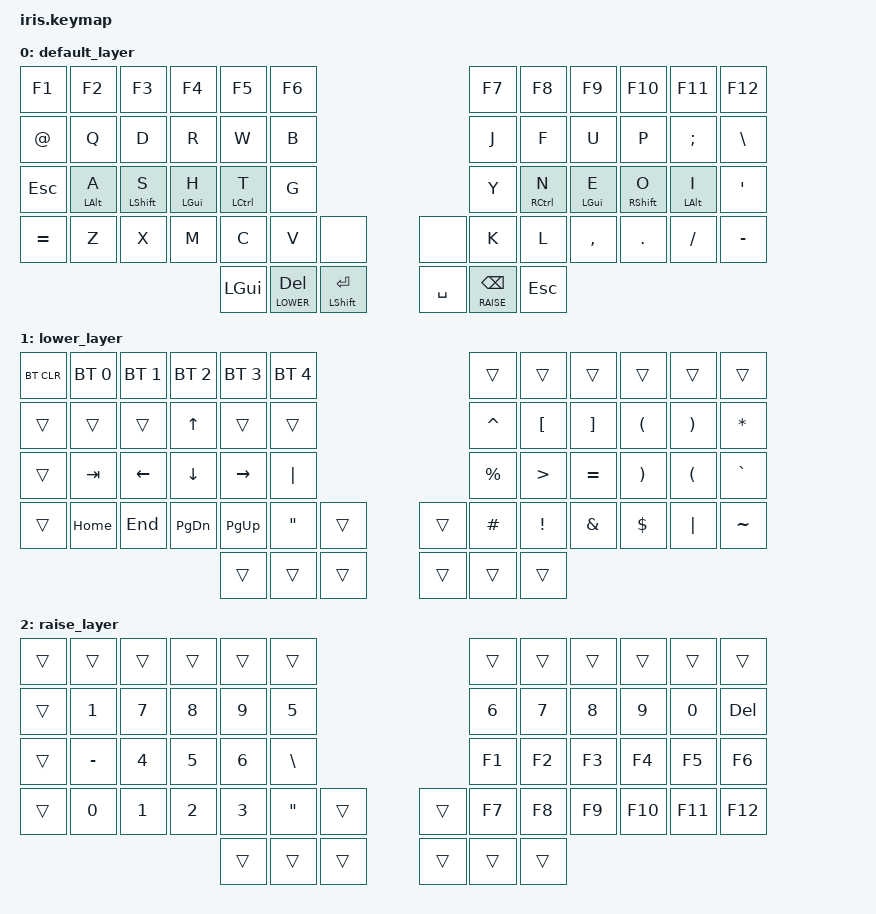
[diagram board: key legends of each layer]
/*
 * Copyright (c) 2020 The ZMK Contributors
 *
 * SPDX-License-Identifier: MIT
 */

#include <behaviors.dtsi>
#include <dt-bindings/zmk/keys.h>
#include <dt-bindings/zmk/bt.h>

#define DEFAULT 0
#define LOWER   1
#define RAISE   2

/ {

		behaviors {
        hm: homerow_mods {
            compatible = "zmk,behavior-hold-tap";
            label = "HOMEROW_MODS";
            #binding-cells = <2>;
            tapping-term-ms = <250>;
            quick-tap-ms = <0>;
            flavor = "tap-preferred";
            bindings = <&kp>, <&kp>;
        };
    };
	
	keymap {
		compatible = "zmk,keymap";

		default_layer {
// ------------------------------------------------------------------------------------------------------------
// |  ESC  |  1  |  2  |  3   |  4   |  5   |                   |  6   |  7    |  8    |  9   |   0   |   `   |
// |  TAB  |  Q  |  W  |  E   |  R   |  T   |                   |  Y   |  U    |  I    |  O   |   P   |   -   |
// |  CTRL |  A  |  S  |  D   |  F   |  G   |                   |  H   |  J    |  K    |  L   |   ;   |   '   |
// | SHIFT |  Z  |  X  |  C   |  V   |  B   |   "["  |  |  "]"  |  N   |  M    |  ,    |  .   |   /   | SHIFT |
//                     		  | GUI  | LOWER|  SPACE |  | ENTER | RAISE|  ALT  |
			bindings = <
    &kp F1   	&kp F2 			&kp F3 			&kp F4      		&kp F5      &kp F6 																&kp F7 			&kp F8 			   	&kp F9  		&kp F10	   	  &kp F11     &kp F12
   	&kp AT  	&kp Q 			&kp D 			&kp R 					&kp W 			&kp B   															&kp J 			&kp F  					&kp U     	&kp P   			&kp SEMI 		&kp BSLH
   	&kp ESC 	&hm LALT A 	&hm LSHFT S &hm LGUI H 			&hm LCTRL T &kp G   															&kp Y 			&hm RCTRL N  		&hm LGUI E 	&hm RSHFT O 	&hm LALT I 	&kp SQT
   	&kp EQUAL &kp Z 			&kp X 			&kp M 					&kp C 			&kp V  		&none			     &none				&kp K 			&kp L  					&kp COMMA 	&kp DOT 			&kp FSLH 		&kp MINUS
													&kp LGUI 		&lt LOWER DEL   &mt LSHFT RET 																		&kp SPACE 	&lt RAISE BKSP  &kp ESC 
			>;
		};

		lower_layer {
// ------------------------------------------------------------------------------------------------------------
// | BTCLR | BT1 | BT2 |  BT3 |  BT4 |  BT5 |                   |      |       |       |      |       |       |
// |  F1   |  F2 |  F3 |  F4  |  F5  |  F6  |                   |  F7  |  F8   |  F9   |  F10 |  F11  |  F12  |
// |   `   |  !  |  @  |  #   |  $   |  %   |                   |  ^   |  &    |  *    |  (   |   )   |   ~   |
// |       |     |     |      |      |      |        |  |       |      |  _    |  +    |  {   |   }   |  "|"  |
//                            |      |      |        |  |       |      |       |
			bindings = <
		&bt BT_CLR 	&bt BT_SEL 0 	&bt BT_SEL 1 	&bt BT_SEL 2 	&bt BT_SEL 3 	&bt BT_SEL 4                					&trans    	&trans    &trans     &trans    &trans    &trans
   	&trans 			&trans    		&trans   			&kp UP    		&trans    		&trans         												&kp CARET 	&kp LBKT  &kp RBKT   &kp LPAR  &kp RPAR  &kp STAR
   	&trans 			&kp TAB   		&kp LEFT 			&kp DOWN  		&kp RIGHT 		&kp PIPE     											  	&kp PRCNT 	&kp GT    &kp EQUAL  &kp RPAR  &kp LPAR  &kp GRAVE
   	&trans 			&kp HOME  		&kp END  			&kp PG_DN 		&kp PG_UP 		&kp DQT     &trans       &trans      	&kp HASH  	&kp EXCL  &kp AMPS   &kp DLLR  &kp PIPE  &kp TILDE    
																						&trans        &trans        &trans   															&trans  	 	&trans    &trans
			>;
		};

		raise_layer {
// ------------------------------------------------------------------------------------------------------------
// |       |     |     |      |      |      |                   |      |       |       |      |       |       |
// |   `   |  1  |  2  |  3   |  4   |  5   |                   |  6   |   7   |   8   |  9   |   0   |       |
// |   F1  |  F2 |  F3 |  F4  |  F5  |  F6  |                   |      |   <-  |   ^   |  v   |  ->   |       |
// |   F7  |  F8 |  F9 |  F10 |  F11 |  F12 |        |  |       |  +   |   -   |   =   |  [   |   ]   |   \   |
//                            |      |      |        |  |       |      |       |
			bindings = <
		&trans &trans 		&trans 		&trans  	&trans  &trans                       	&trans    &trans    &trans    &trans    &trans    &trans
   	&trans &kp N1    	&kp N7    &kp N8    &kp N9  &kp N5        								&kp N6    &kp N7    &kp N8    &kp N9    &kp N0    &kp DEL
   	&trans &kp MINUS 	&kp N4    &kp N5    &kp N6  &kp BSLH      								&kp F1    &kp F2    &kp F3    &kp F4    &kp F5    &kp F6
   	&trans &kp N0    	&kp N1    &kp N2    &kp N3  &kp DQT    &trans   &trans   	&kp F7    &kp F8    &kp F9    &kp F10   &kp F11   &kp F12
                   							&trans  	&trans  &trans   											&trans    &trans      &trans
			>;
		};
	};
};
